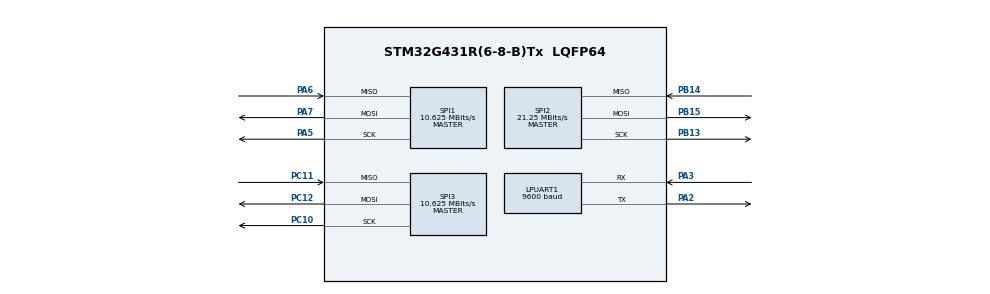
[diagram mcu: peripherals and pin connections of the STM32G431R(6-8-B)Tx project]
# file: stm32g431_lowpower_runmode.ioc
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LPUART1.BaudRate=9600
Mcu.Family=STM32G4
Mcu.Name=STM32G431R(6-8-B)Tx
Mcu.Package=LQFP64
NVIC.PriorityGroup=NVIC_PRIORITYGROUP_4
PA2.Mode=Asynchronous
PA2.Signal=LPUART1_TX
PA3.Mode=Asynchronous
PA3.Signal=LPUART1_RX
PA5.Mode=Full_Duplex_Master
PA5.Signal=SPI1_SCK
PA6.Mode=Full_Duplex_Master
PA6.Signal=SPI1_MISO
PA7.Mode=Full_Duplex_Master
PA7.Signal=SPI1_MOSI
PB13.Mode=Full_Duplex_Master
PB13.Signal=SPI2_SCK
PB14.Mode=Full_Duplex_Master
PB14.Signal=SPI2_MISO
PB15.Mode=Full_Duplex_Master
PB15.Signal=SPI2_MOSI
PC10.Mode=Full_Duplex_Master
PC10.Signal=SPI3_SCK
PC11.Mode=Full_Duplex_Master
PC11.Signal=SPI3_MISO
PC12.Mode=Full_Duplex_Master
PC12.Signal=SPI3_MOSI
PF0-OSC_IN.Mode=HSE-External-Oscillator
PF0-OSC_IN.Signal=RCC_OSC_IN
PF1-OSC_OUT.Mode=HSE-External-Oscillator
PF1-OSC_OUT.Signal=RCC_OSC_OUT
ProjectManager.HeapSize=0x200
ProjectManager.StackSize=0x400
ProjectManager.TargetToolchain=MDK-ARM V5
RCC.ADC12Freq_Value=170000000
RCC.AHBFreq_Value=170000000
RCC.APB1Freq_Value=170000000
RCC.APB1TimFreq_Value=170000000
RCC.APB2Freq_Value=170000000
RCC.APB2TimFreq_Value=170000000
RCC.CortexFreq_Value=170000000
RCC.DATA_CACHE_ENABLE=0
RCC.EXTERNAL_CLOCK_VALUE=12288000
RCC.HCLKFreq_Value=170000000
RCC.HSE_VALUE=24000000
RCC.HSI48_VALUE=48000000
RCC.HSI_VALUE=16000000
RCC.INSTRUCTION_CACHE_ENABLE=0
RCC.LPUART1CLockSelection=RCC_LPUART1CLKSOURCE_HSI
RCC.LSE_VALUE=32768
RCC.PLLM=RCC_PLLM_DIV6
RCC.PLLN=85
RCC.PLLSourceVirtual=RCC_PLLSOURCE_HSE
RCC.PWR_Regulator_Voltage_Scale=PWR_REGULATOR_VOLTAGE_SCALE1_BOOST
RCC.SYSCLKFreq_VALUE=170000000
RCC.SYSCLKSource=RCC_SYSCLKSOURCE_PLLCLK
RCC.USBFreq_Value=170000000
RCC.VCOOutputFreq_Value=340000000
SPI1.BaudRatePrescaler=SPI_BAUDRATEPRESCALER_16
SPI1.CalculateBaudRate=10.625 MBits/s
SPI1.DataSize=SPI_DATASIZE_8BIT
SPI1.Direction=SPI_DIRECTION_2LINES
SPI1.Mode=SPI_MODE_MASTER
SPI1.VirtualType=VM_MASTER
SPI2.BaudRatePrescaler=SPI_BAUDRATEPRESCALER_8
SPI2.CalculateBaudRate=21.25 MBits/s
SPI2.Direction=SPI_DIRECTION_2LINES
SPI2.Mode=SPI_MODE_MASTER
SPI2.VirtualType=VM_MASTER
SPI3.BaudRatePrescaler=SPI_BAUDRATEPRESCALER_16
SPI3.CalculateBaudRate=10.625 MBits/s
SPI3.Direction=SPI_DIRECTION_2LINES
SPI3.Mode=SPI_MODE_MASTER
SPI3.VirtualType=VM_MASTER
VP_SYS_VS_DBSignals.Mode=DisableDeadBatterySignals
board=custom

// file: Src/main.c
/* USER CODE BEGIN Header */
/**
  ******************************************************************************
  * @file           : main.c
  * @brief          : Main program body
  ******************************************************************************
  * @attention
  *
  * <h2><center>&copy; Copyright (c) 2020 STMicroelectronics.
  * All rights reserved.</center></h2>
  *
  * This software component is licensed by ST under BSD 3-Clause license,
  * the "License"; You may not use this file except in compliance with the
  * License. You may obtain a copy of the License at:
  *                        opensource.org/licenses/BSD-3-Clause
  *
  ******************************************************************************
  */
/* USER CODE END Header */

#include "main.h"
#include "usart.h"
#include "spi.h"
#include "gpio.h"

void SystemClock_Config(void);

/* USER CODE BEGIN 0 */
void SystemClock_Decrease(void);
void SystemPower_Config(void);
void BufferTransfer(int mode);
void LPUARTClock_Config(void);
/* USER CODE END 0 */

int main(void)
{

  /* MCU Configuration--------------------------------------------------------*/

  /* Reset of all peripherals, Initializes the Flash interface and the Systick. */

  LL_APB2_GRP1_EnableClock(LL_APB2_GRP1_PERIPH_SYSCFG);
  LL_APB1_GRP1_EnableClock(LL_APB1_GRP1_PERIPH_PWR);

  NVIC_SetPriorityGrouping(NVIC_PRIORITYGROUP_4);

  /* System interrupt init*/

  /** Disable the internal Pull-Up in Dead Battery pins of UCPD peripheral
  */
  LL_PWR_DisableDeadBatteryPD();

  /* Configure the system clock */
  SystemClock_Config();

  /* Initialize all configured peripherals */
  MX_GPIO_Init();
  MX_LPUART1_UART_Init();
  MX_SPI1_Init();
  MX_SPI2_Init();
  MX_SPI3_Init();

  /* Infinite loop */
  /* USER CODE BEGIN WHILE */
  /* Polling USART initialisation */
	SystemPower_Config();
	LL_mDelay(1000);
  while (1)
  {
		SystemClock_Decrease();
		LPUARTClock_Config();
		LL_PWR_EnableLowPowerRunMode();
		BufferTransfer(0);
		LL_mDelay(1000);

		LL_PWR_DisableLowPowerRunMode();
		while(LL_PWR_IsActiveFlag_REGLPF() == 1);
		SystemClock_Config();
		LPUARTClock_Config();
		BufferTransfer(1);
		LL_mDelay(1000);
    /* USER CODE END WHILE */

  }
}

void SystemClock_Config(void)
{
  LL_FLASH_SetLatency(LL_FLASH_LATENCY_8);
  LL_PWR_EnableRange1BoostMode();
  LL_RCC_HSE_Enable();

   /* Wait till HSE is ready */
  while(LL_RCC_HSE_IsReady() != 1)
  {

  }
  LL_RCC_HSI_Enable();

   /* Wait till HSI is ready */
  while(LL_RCC_HSI_IsReady() != 1)
  {

  }
  LL_RCC_HSI_SetCalibTrimming(64);
  LL_RCC_PLL_ConfigDomain_SYS(LL_RCC_PLLSOURCE_HSE, LL_RCC_PLLM_DIV_6, 85, LL_RCC_PLLR_DIV_2);
  LL_RCC_PLL_EnableDomain_SYS();
  LL_RCC_PLL_Enable();

   /* Wait till PLL is ready */
  while(LL_RCC_PLL_IsReady() != 1)
  {

  }
  LL_RCC_SetSysClkSource(LL_RCC_SYS_CLKSOURCE_PLL);
  LL_RCC_SetAHBPrescaler(LL_RCC_SYSCLK_DIV_2);

   /* Wait till System clock is ready */
  while(LL_RCC_GetSysClkSource() != LL_RCC_SYS_CLKSOURCE_STATUS_PLL)
  {

  }
  /* Insure 1?s transition state at intermediate medium speed clock based on DWT */
  CoreDebug->DEMCR |= CoreDebug_DEMCR_TRCENA_Msk;
  DWT->CTRL |= DWT_CTRL_CYCCNTENA_Msk;
  DWT->CYCCNT = 0;
  while(DWT->CYCCNT < 100);
  /* Set AHB prescaler*/
  LL_RCC_SetAHBPrescaler(LL_RCC_SYSCLK_DIV_1);
  LL_RCC_SetAPB1Prescaler(LL_RCC_APB1_DIV_1);
  LL_RCC_SetAPB2Prescaler(LL_RCC_APB1_DIV_1);

  LL_Init1msTick(170000000);

  LL_SetSystemCoreClock(170000000);
  LL_RCC_SetLPUARTClockSource(LL_RCC_LPUART1_CLKSOURCE_HSI);
}

/* USER CODE BEGIN 4 */
void SystemClock_Decrease(void)
{
  LL_PWR_SetRegulVoltageScaling(LL_PWR_REGU_VOLTAGE_SCALE2);
  LL_RCC_HSI_Enable();

   /* Wait till HSI is ready */
  while(LL_RCC_HSI_IsReady() != 1)
  {

  }
  LL_RCC_HSI_SetCalibTrimming(64);
  LL_RCC_SetSysClkSource(LL_RCC_SYS_CLKSOURCE_HSI);
  LL_RCC_PLL_DisableDomain_SYS();
  LL_RCC_PLL_Disable();
  LL_RCC_HSE_Disable();

   /* Wait till System clock is ready */
  while(LL_RCC_GetSysClkSource() != LL_RCC_SYS_CLKSOURCE_STATUS_HSI)
  {

  }
  /* Set AHB prescaler*/
  LL_RCC_SetAHBPrescaler(LL_RCC_SYSCLK_DIV_8);
  LL_RCC_SetAPB1Prescaler(LL_RCC_APB1_DIV_1);
  LL_RCC_SetAPB2Prescaler(LL_RCC_APB1_DIV_1);

  LL_Init1msTick(2000000);

  LL_SetSystemCoreClock(2000000);
  LL_RCC_SetLPUARTClockSource(LL_RCC_LPUART1_CLKSOURCE_PCLK1);

  LL_FLASH_SetLatency(LL_FLASH_LATENCY_0);
  if(LL_FLASH_GetLatency() != LL_FLASH_LATENCY_0)
  {
    Error_Handler();
  }
}

void SystemPower_Config(void)
{
	/*** Peripharel Disable ***/
  LL_APB2_GRP1_DisableClock(LL_APB2_GRP1_PERIPH_SPI1);
  LL_APB1_GRP1_DisableClock(LL_APB1_GRP1_PERIPH_SPI2);
  LL_APB1_GRP1_DisableClock(LL_APB1_GRP1_PERIPH_SPI3);

	/*** GPIO Disable ***/
  LL_GPIO_InitTypeDef gpio_initstruct = {LL_GPIO_PIN_ALL, LL_GPIO_MODE_ANALOG,
                                         LL_GPIO_SPEED_FREQ_LOW, LL_GPIO_OUTPUT_PUSHPULL,
                                         LL_GPIO_PULL_NO, LL_GPIO_AF_0};

  /* Set all GPIO in analog state to reduce power consumption,                */
  /* Note: Debug using ST-Link is not possible during the execution of this   */
  /*       example because communication between ST-link and the device       */
  /*       under test is done through UART. All GPIO pins are disabled (set   */
  /*       to analog input mode) including  UART I/O pins.                    */
  LL_AHB2_GRP1_EnableClock(LL_AHB2_GRP1_PERIPH_GPIOA |
                            LL_AHB2_GRP1_PERIPH_GPIOB |
                            LL_AHB2_GRP1_PERIPH_GPIOC |
                            LL_AHB2_GRP1_PERIPH_GPIOD |
                            LL_AHB2_GRP1_PERIPH_GPIOE |
                            LL_AHB2_GRP1_PERIPH_GPIOF |
                            LL_AHB2_GRP1_PERIPH_GPIOG );

  LL_GPIO_Init(GPIOA, &gpio_initstruct);
  LL_GPIO_Init(GPIOB, &gpio_initstruct);
  LL_GPIO_Init(GPIOC, &gpio_initstruct);
  LL_GPIO_Init(GPIOD, &gpio_initstruct);
  LL_GPIO_Init(GPIOE, &gpio_initstruct);
  LL_GPIO_Init(GPIOF, &gpio_initstruct);
  LL_GPIO_Init(GPIOG, &gpio_initstruct);

  LL_AHB2_GRP1_DisableClock(LL_AHB2_GRP1_PERIPH_GPIOA |
                            LL_AHB2_GRP1_PERIPH_GPIOB |
                            LL_AHB2_GRP1_PERIPH_GPIOC |
                            LL_AHB2_GRP1_PERIPH_GPIOD |
                            LL_AHB2_GRP1_PERIPH_GPIOE |
                            LL_AHB2_GRP1_PERIPH_GPIOF |
                            LL_AHB2_GRP1_PERIPH_GPIOG );

	/** LPUART Enable **/
  LL_GPIO_InitTypeDef GPIO_InitStruct = {0};

  /* Peripheral clock enable */
  LL_AHB2_GRP1_EnableClock(LL_AHB2_GRP1_PERIPH_GPIOA);
  /**LPUART1 GPIO Configuration
  PA2   ------> LPUART1_TX
  PA3   ------> LPUART1_RX
  */
  GPIO_InitStruct.Pin = LL_GPIO_PIN_2;
  GPIO_InitStruct.Mode = LL_GPIO_MODE_ALTERNATE;
  GPIO_InitStruct.Speed = LL_GPIO_SPEED_FREQ_LOW;
  GPIO_InitStruct.OutputType = LL_GPIO_OUTPUT_PUSHPULL;
  GPIO_InitStruct.Pull = LL_GPIO_PULL_NO;
  GPIO_InitStruct.Alternate = LL_GPIO_AF_12;
  LL_GPIO_Init(GPIOA, &GPIO_InitStruct);

  GPIO_InitStruct.Pin = LL_GPIO_PIN_3;
  GPIO_InitStruct.Mode = LL_GPIO_MODE_ALTERNATE;
  GPIO_InitStruct.Speed = LL_GPIO_SPEED_FREQ_LOW;
  GPIO_InitStruct.OutputType = LL_GPIO_OUTPUT_PUSHPULL;
  GPIO_InitStruct.Pull = LL_GPIO_PULL_NO;
  GPIO_InitStruct.Alternate = LL_GPIO_AF_12;
  LL_GPIO_Init(GPIOA, &GPIO_InitStruct);
}

uint8_t ubSend = 0;
const uint8_t aStringToSend0[] = "LP RUN Mode - STM32G4xx LPUART LL API Example : TX in Polling mode\r\nConfiguration LPUART 9600 bps, 8 data bit/1 stop bit/No parity/No HW flow control\r\n";
const uint8_t aStringToSend1[] = "RUN Mode - STM32G4xx LPUART LL API Example : TX in Polling mode\r\nConfiguration LPUART 9600 bps, 8 data bit/1 stop bit/No parity/No HW flow control\r\n";

void BufferTransfer(int mode)
{
	if(mode == 0)
	{
		/* Send characters one per one, until last char to be sent */
		while (ubSend < sizeof(aStringToSend0))
		{
			/* Wait for TXE flag to be raised */
			while (!LL_LPUART_IsActiveFlag_TXE(LPUART1))
			{
			}

			/* If last char to be sent, clear TC flag */
			if (ubSend == (sizeof(aStringToSend0) - 1))
			{
				LL_LPUART_ClearFlag_TC(LPUART1);
			}

			/* Write character in Transmit Data register.
				 TXE flag is cleared by writing data in TDR register */
			LL_LPUART_TransmitData8(LPUART1, aStringToSend0[ubSend++]);
		}
	}
	else
	{
		/* Send characters one per one, until last char to be sent */
		while (ubSend < sizeof(aStringToSend1))
		{
			/* Wait for TXE flag to be raised */
			while (!LL_LPUART_IsActiveFlag_TXE(LPUART1))
			{
			}

			/* If last char to be sent, clear TC flag */
			if (ubSend == (sizeof(aStringToSend1) - 1))
			{
				LL_LPUART_ClearFlag_TC(LPUART1);
			}

			/* Write character in Transmit Data register.
				 TXE flag is cleared by writing data in TDR register */
			LL_LPUART_TransmitData8(LPUART1, aStringToSend1[ubSend++]);
		}
	}

  /* Wait for TC flag to be raised for last char */
  while (!LL_LPUART_IsActiveFlag_TC(LPUART1))
  {
  }

	ubSend = 0;
}

void LPUARTClock_Config(void)
{
	uint32_t periphclk;

	periphclk = LL_RCC_GetLPUARTClockFreq(LL_RCC_LPUART1_CLKSOURCE);
  LL_LPUART_SetBaudRate(LPUART1, periphclk, LL_LPUART_PRESCALER_DIV1, 9600);
}

/* USER CODE END 4 */

void Error_Handler(void)
{
}

/************************ (C) COPYRIGHT STMicroelectronics *****END OF FILE****/
